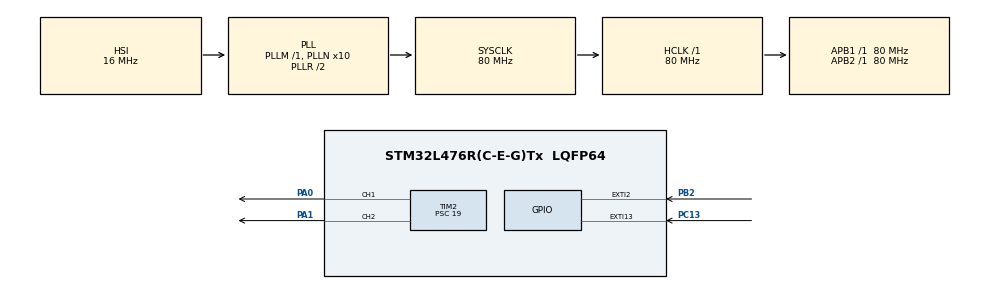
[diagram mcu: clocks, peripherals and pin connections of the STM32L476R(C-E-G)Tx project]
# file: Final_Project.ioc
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Mcu.Family=STM32L4
Mcu.Name=STM32L476R(C-E-G)Tx
Mcu.Package=LQFP64
NVIC.EXTI15_10_IRQn=true\:1\:0\:true\:false\:true\:true\:true\:true
NVIC.EXTI2_IRQn=true\:1\:0\:true\:false\:true\:true\:true\:true
NVIC.PriorityGroup=NVIC_PRIORITYGROUP_4
PA0.Signal=S_TIM2_CH1
PA1.Signal=S_TIM2_CH2
PA13\ (JTMS-SWDIO).GPIO_Label=TMS
PA13\ (JTMS-SWDIO).Mode=Serial_Wire
PA13\ (JTMS-SWDIO).Signal=SYS_JTMS-SWDIO
PA14\ (JTCK-SWCLK).GPIO_Label=TCK
PA14\ (JTCK-SWCLK).Mode=Serial_Wire
PA14\ (JTCK-SWCLK).Signal=SYS_JTCK-SWCLK
PB2.GPIO_ModeDefaultEXTI=GPIO_MODE_IT_FALLING
PB2.GPIO_PuPd=GPIO_PULLUP
PB2.Signal=GPXTI2
PB3\ (JTDO-TRACESWO).GPIO_Label=SWO
PB3\ (JTDO-TRACESWO).Signal=SYS_JTDO-SWO
PC13.GPIO_ModeDefaultEXTI=GPIO_MODE_IT_FALLING
PC13.Signal=GPXTI13
PC14-OSC32_IN\ (PC14).Mode=LSE-External-Oscillator
PC14-OSC32_IN\ (PC14).Signal=RCC_OSC32_IN
PC15-OSC32_OUT\ (PC15).Mode=LSE-External-Oscillator
PC15-OSC32_OUT\ (PC15).Signal=RCC_OSC32_OUT
PH0-OSC_IN\ (PH0).Signal=RCC_OSC_IN
PH1-OSC_OUT\ (PH1).Signal=RCC_OSC_OUT
ProjectManager.HeapSize=0x200
ProjectManager.StackSize=0x400
ProjectManager.TargetToolchain=STM32CubeIDE
RCC.ADCFreq_Value=64000000
RCC.AHBFreq_Value=80000000
RCC.APB1Freq_Value=80000000
RCC.APB1TimFreq_Value=80000000
RCC.APB2Freq_Value=80000000
RCC.APB2TimFreq_Value=80000000
RCC.CortexFreq_Value=80000000
RCC.HCLKFreq_Value=80000000
RCC.HSE_VALUE=8000000
RCC.HSI_VALUE=16000000
RCC.MSI_VALUE=4000000
RCC.PLLN=10
RCC.PLLSourceVirtual=RCC_PLLSOURCE_HSI
RCC.PREFETCH_ENABLE=1
RCC.SYSCLKFreq_VALUE=80000000
RCC.SYSCLKSource=RCC_SYSCLKSOURCE_PLLCLK
RCC.USBFreq_Value=64000000
RCC.VCOOutputFreq_Value=160000000
SH.S_TIM2_CH1.0=TIM2_CH1,PWM Generation1 CH1
SH.S_TIM2_CH2.0=TIM2_CH2,PWM Generation2 CH2
TIM2.AutoReloadPreload=TIM_AUTORELOAD_PRELOAD_ENABLE
TIM2.Channel-PWM\ Generation1\ CH1=TIM_CHANNEL_1
TIM2.Channel-PWM\ Generation2\ CH2=TIM_CHANNEL_2
TIM2.Period=79999
TIM2.Prescaler=19
board=NUCLEO-L476RG

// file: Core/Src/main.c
/* USER CODE BEGIN Header */
/**
  ******************************************************************************
  * @file           : main.c
  * @brief          : Main program body
  ******************************************************************************
  * @attention
  *
  * Copyright (c) 2025 STMicroelectronics.
  * All rights reserved.
  *
  * This software is licensed under terms that can be found in the LICENSE file
  * in the root directory of this software component.
  * If no LICENSE file comes with this software, it is provided AS-IS.
  *
  ******************************************************************************
  */
/* USER CODE END Header */
#include "main.h"

TIM_HandleTypeDef htim2;

void SystemClock_Config(void);
static void MX_GPIO_Init(void);
static void MX_TIM2_Init(void);

int main(void)
{

  /* MCU Configuration--------------------------------------------------------*/

  /* Reset of all peripherals, Initializes the Flash interface and the Systick. */
  HAL_Init();

  /* Configure the system clock */
  SystemClock_Config();

  /* Initialize all configured peripherals */
  MX_GPIO_Init();
  MX_TIM2_Init();
  /* USER CODE BEGIN 2 */
  HAL_TIM_PWM_Start(&htim2, TIM_CHANNEL_1);
  HAL_TIM_PWM_Start(&htim2, TIM_CHANNEL_2);
  /* USER CODE END 2 */

  /* Infinite loop */
  while (1)
  {

  }
}

void SystemClock_Config(void)
{
  RCC_OscInitTypeDef RCC_OscInitStruct = {0};
  RCC_ClkInitTypeDef RCC_ClkInitStruct = {0};

  /** Configure the main internal regulator output voltage
  */
  if (HAL_PWREx_ControlVoltageScaling(PWR_REGULATOR_VOLTAGE_SCALE1) != HAL_OK)
  {
    Error_Handler();
  }

  /** Initializes the RCC Oscillators according to the specified parameters
  * in the RCC_OscInitTypeDef structure.
  */
  RCC_OscInitStruct.OscillatorType = RCC_OSCILLATORTYPE_HSI;
  RCC_OscInitStruct.HSIState = RCC_HSI_ON;
  RCC_OscInitStruct.HSICalibrationValue = RCC_HSICALIBRATION_DEFAULT;
  RCC_OscInitStruct.PLL.PLLState = RCC_PLL_ON;
  RCC_OscInitStruct.PLL.PLLSource = RCC_PLLSOURCE_HSI;
  RCC_OscInitStruct.PLL.PLLM = 1;
  RCC_OscInitStruct.PLL.PLLN = 10;
  RCC_OscInitStruct.PLL.PLLP = RCC_PLLP_DIV7;
  RCC_OscInitStruct.PLL.PLLQ = RCC_PLLQ_DIV2;
  RCC_OscInitStruct.PLL.PLLR = RCC_PLLR_DIV2;
  if (HAL_RCC_OscConfig(&RCC_OscInitStruct) != HAL_OK)
  {
    Error_Handler();
  }

  /** Initializes the CPU, AHB and APB buses clocks
  */
  RCC_ClkInitStruct.ClockType = RCC_CLOCKTYPE_HCLK|RCC_CLOCKTYPE_SYSCLK
                              |RCC_CLOCKTYPE_PCLK1|RCC_CLOCKTYPE_PCLK2;
  RCC_ClkInitStruct.SYSCLKSource = RCC_SYSCLKSOURCE_PLLCLK;
  RCC_ClkInitStruct.AHBCLKDivider = RCC_SYSCLK_DIV1;
  RCC_ClkInitStruct.APB1CLKDivider = RCC_HCLK_DIV1;
  RCC_ClkInitStruct.APB2CLKDivider = RCC_HCLK_DIV1;

  if (HAL_RCC_ClockConfig(&RCC_ClkInitStruct, FLASH_LATENCY_4) != HAL_OK)
  {
    Error_Handler();
  }
}

static void MX_TIM2_Init(void)
{

  TIM_MasterConfigTypeDef sMasterConfig = {0};
  TIM_OC_InitTypeDef sConfigOC = {0};

  htim2.Instance = TIM2;
  htim2.Init.Prescaler = 19;
  htim2.Init.CounterMode = TIM_COUNTERMODE_UP;
  htim2.Init.Period = 79999;
  htim2.Init.ClockDivision = TIM_CLOCKDIVISION_DIV1;
  htim2.Init.AutoReloadPreload = TIM_AUTORELOAD_PRELOAD_ENABLE;
  if (HAL_TIM_PWM_Init(&htim2) != HAL_OK)
  {
    Error_Handler();
  }
  sMasterConfig.MasterOutputTrigger = TIM_TRGO_RESET;
  sMasterConfig.MasterSlaveMode = TIM_MASTERSLAVEMODE_DISABLE;
  if (HAL_TIMEx_MasterConfigSynchronization(&htim2, &sMasterConfig) != HAL_OK)
  {
    Error_Handler();
  }
  sConfigOC.OCMode = TIM_OCMODE_PWM1;
  sConfigOC.Pulse = 0;
  sConfigOC.OCPolarity = TIM_OCPOLARITY_HIGH;
  sConfigOC.OCFastMode = TIM_OCFAST_DISABLE;
  if (HAL_TIM_PWM_ConfigChannel(&htim2, &sConfigOC, TIM_CHANNEL_1) != HAL_OK)
  {
    Error_Handler();
  }
  if (HAL_TIM_PWM_ConfigChannel(&htim2, &sConfigOC, TIM_CHANNEL_2) != HAL_OK)
  {
    Error_Handler();
  }
  HAL_TIM_MspPostInit(&htim2);

}

static void MX_GPIO_Init(void)
{
  GPIO_InitTypeDef GPIO_InitStruct = {0};

  /* GPIO Ports Clock Enable */
  __HAL_RCC_GPIOC_CLK_ENABLE();
  __HAL_RCC_GPIOH_CLK_ENABLE();
  __HAL_RCC_GPIOA_CLK_ENABLE();
  __HAL_RCC_GPIOB_CLK_ENABLE();

  /*Configure GPIO pin : PC13 */
  GPIO_InitStruct.Pin = GPIO_PIN_13;
  GPIO_InitStruct.Mode = GPIO_MODE_IT_FALLING;
  GPIO_InitStruct.Pull = GPIO_NOPULL;
  HAL_GPIO_Init(GPIOC, &GPIO_InitStruct);

  /*Configure GPIO pin : PB2 */
  GPIO_InitStruct.Pin = GPIO_PIN_2;
  GPIO_InitStruct.Mode = GPIO_MODE_IT_FALLING;
  GPIO_InitStruct.Pull = GPIO_PULLUP;
  HAL_GPIO_Init(GPIOB, &GPIO_InitStruct);

  /* EXTI interrupt init*/
  HAL_NVIC_SetPriority(EXTI2_IRQn, 1, 0);
  HAL_NVIC_EnableIRQ(EXTI2_IRQn);

  HAL_NVIC_SetPriority(EXTI15_10_IRQn, 1, 0);
  HAL_NVIC_EnableIRQ(EXTI15_10_IRQn);

}

/* USER CODE BEGIN 4 */
void HAL_GPIO_EXTI_Callback(uint16_t GPIO_Pin) {
	if (GPIO_Pin == GPIO_PIN_13 || GPIO_Pin == GPIO_PIN_2)
	{
		clap = !clap;
		if (clap) {
			// moves servos to starting position
			TIM2->CCR1 = (int) (0.05 * PWM_PERIOD);
			TIM2->CCR2 = (int) (0.1 * PWM_PERIOD);
			HAL_Delay(250);
			// moves servos to clapping position
			TIM2->CCR1 = (int) (0.1 * PWM_PERIOD);
			TIM2->CCR2 = (int) (0.05 * PWM_PERIOD);
			HAL_Delay(250);
			// moves servos back to starting position
			TIM2->CCR1 = (int) (0.05 * PWM_PERIOD);
			TIM2->CCR2 = (int) (0.1 * PWM_PERIOD);
			HAL_Delay(500);
		}
	}

}
/* USER CODE END 4 */

void Error_Handler(void)
{
  __disable_irq();
  while (1)
  {
  }
}
